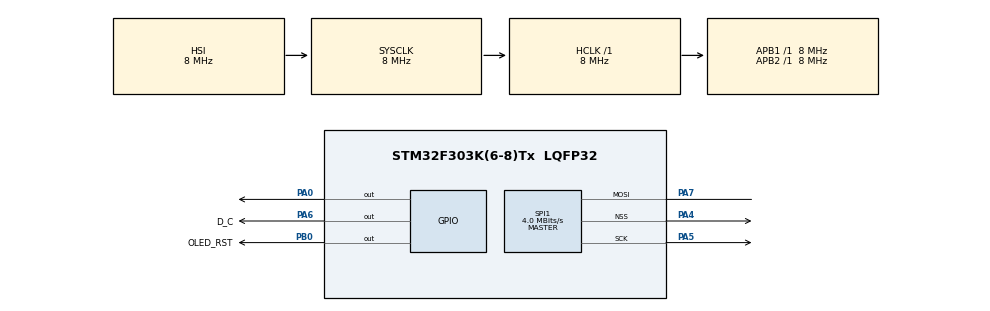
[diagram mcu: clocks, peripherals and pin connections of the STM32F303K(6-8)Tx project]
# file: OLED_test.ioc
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Mcu.Family=STM32F3
Mcu.Name=STM32F303K(6-8)Tx
Mcu.Package=LQFP32
NVIC.PriorityGroup=NVIC_PRIORITYGROUP_4
PA0.Signal=GPIO_Output
PA13.Mode=Serial_Wire
PA13.Signal=SYS_JTMS-SWDIO
PA14.Mode=Serial_Wire
PA14.Signal=SYS_JTCK-SWCLK
PA4.Mode=NSS_Signal_Hard_Output
PA4.Signal=SPI1_NSS
PA5.Mode=Simplex_Bidirectional_Master
PA5.Signal=SPI1_SCK
PA6.GPIO_Label=D_C
PA6.Signal=GPIO_Output
PA7.Mode=Simplex_Bidirectional_Master
PA7.Signal=SPI1_MOSI
PB0.GPIO_Label=OLED_RST
PB0.Signal=GPIO_Output
PF0\ /\ OSC_IN.Mode=HSE-External-Oscillator
PF0\ /\ OSC_IN.Signal=RCC_OSC_IN
PF1\ /\ OSC_OUT.Mode=HSE-External-Oscillator
PF1\ /\ OSC_OUT.Signal=RCC_OSC_OUT
ProjectManager.HeapSize=0x200
ProjectManager.StackSize=0x400
ProjectManager.TargetToolchain=STM32CubeIDE
RCC.AHBFreq_Value=8000000
RCC.APB1Freq_Value=8000000
RCC.APB2Freq_Value=8000000
RCC.CortexFreq_Value=8000000
RCC.HSE_VALUE=8000000
RCC.HSI_VALUE=8000000
RCC.SYSCLKFreq_VALUE=8000000
SPI1.BaudRatePrescaler=SPI_BAUDRATEPRESCALER_2
SPI1.CalculateBaudRate=4.0 MBits/s
SPI1.DataSize=SPI_DATASIZE_8BIT
SPI1.Direction=SPI_DIRECTION_1LINE
SPI1.Mode=SPI_MODE_MASTER
SPI1.VirtualNSS=VM_NSSHARD
SPI1.VirtualType=VM_MASTER
board=custom

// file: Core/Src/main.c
/* USER CODE BEGIN Header */
/**
  ******************************************************************************
  * @file           : main.c
  * @brief          : Main program body
  ******************************************************************************
  * @attention
  *
  * <h2><center>&copy; Copyright (c) 2019 STMicroelectronics.
  * All rights reserved.</center></h2>
  *
  * This software component is licensed by ST under BSD 3-Clause license,
  * the "License"; You may not use this file except in compliance with the
  * License. You may obtain a copy of the License at:
  *                        opensource.org/licenses/BSD-3-Clause
  *
  ******************************************************************************
  */
/* USER CODE END Header */

#include "main.h"
#include "spi.h"
#include "gpio.h"

/* USER CODE BEGIN Includes */
#include "oled.h"
/* USER CODE END Includes */

void SystemClock_Config(void);

int main(void)
{

  /* MCU Configuration--------------------------------------------------------*/

  /* Reset of all peripherals, Initializes the Flash interface and the Systick. */
  HAL_Init();

  /* Configure the system clock */
  SystemClock_Config();

  /* Initialize all configured peripherals */
  MX_GPIO_Init();
  MX_SPI1_Init();
  /* USER CODE BEGIN 2 */

  OLEDInit();

  OLEDFillc(0xff,0xff,0xff);
  OLEDLogo();
  while(1){}
//  OLEDLine(0,0,95,63, 0b0000000,0b0000000,0b0001111);
//  OLEDLine(95, 32, 0, 63, 0b00001111, 0b0000, 0b0000);

  /* USER CODE END 2 */

  /* Infinite loop */
  while (1)
  {

    /* USER CODE BEGIN 3 */
	  OLEDSetColor(0x00, 0x00, 0x00);
	  for(int j=0;j<64;j++){
		  for(int i=0;i<96;i++){
			  OLEDPoint(i, j);
			  //HAL_Delay(1);
		  }
	  }
	  for(uint8_t co=1;co<64;co+=4){
		  OLEDSetColor(co, 0x00, 0x00);
		  for(int j=0;j<64;j++){
			  for(int i=0;i<96;i++){
				  OLEDPoint(i, j);
				  //HAL_Delay(1);
			  }
		  }
	  }
	  OLEDSetColor(0x00, 0xff, 0x00);
	  for(int j=0;j<64;j++){
		  for(int i=0;i<96;i++){
			  OLEDPoint(i, j);
			  //HAL_Delay(1);
		  }
	  }
	  OLEDSetColor(0x00, 0x00, 0xff);
	  for(int j=0;j<64;j++){
		  for(int i=0;i<96;i++){
			  OLEDPoint(i, j);
			  //HAL_Delay(1);
		  }
	  }

	  OLEDSetColor(0x00, 0x00, 0x00);
	  for(int i=0;i<96;i++){
		  for(int j=0;j<64;j++){
			  OLEDPoint(i, j);
			  //HAL_Delay(1);
		  }
	  }
	  OLEDSetColor(0xff, 0x00, 0x00);
	  for(int i=0;i<96;i++){
		  for(int j=0;j<64;j++){
			  OLEDPoint(i, j);
			  //HAL_Delay(1);
		  }
	  }
	  OLEDSetColor(0x00, 0xff, 0x00);
	  for(int i=0;i<96;i++){
		  for(int j=0;j<64;j++){
			  OLEDPoint(i, j);
			  //HAL_Delay(1);
		  }
	  }
	  OLEDSetColor(0x00, 0x00, 0xff);
	  for(int i=0;i<96;i++){
		  for(int j=0;j<64;j++){
			  OLEDPoint(i, j);
			  //HAL_Delay(1);
		  }
	  }
	  OLEDClear();

  }
  /* USER CODE END 3 */
}

void SystemClock_Config(void)
{
  RCC_OscInitTypeDef RCC_OscInitStruct = {0};
  RCC_ClkInitTypeDef RCC_ClkInitStruct = {0};

  /** Initializes the CPU, AHB and APB busses clocks
  */
  RCC_OscInitStruct.OscillatorType = RCC_OSCILLATORTYPE_HSI;
  RCC_OscInitStruct.HSIState = RCC_HSI_ON;
  RCC_OscInitStruct.HSICalibrationValue = RCC_HSICALIBRATION_DEFAULT;
  RCC_OscInitStruct.PLL.PLLState = RCC_PLL_NONE;
  if (HAL_RCC_OscConfig(&RCC_OscInitStruct) != HAL_OK)
  {
    Error_Handler();
  }
  /** Initializes the CPU, AHB and APB busses clocks
  */
  RCC_ClkInitStruct.ClockType = RCC_CLOCKTYPE_HCLK|RCC_CLOCKTYPE_SYSCLK
                              |RCC_CLOCKTYPE_PCLK1|RCC_CLOCKTYPE_PCLK2;
  RCC_ClkInitStruct.SYSCLKSource = RCC_SYSCLKSOURCE_HSI;
  RCC_ClkInitStruct.AHBCLKDivider = RCC_SYSCLK_DIV1;
  RCC_ClkInitStruct.APB1CLKDivider = RCC_HCLK_DIV1;
  RCC_ClkInitStruct.APB2CLKDivider = RCC_HCLK_DIV1;

  if (HAL_RCC_ClockConfig(&RCC_ClkInitStruct, FLASH_LATENCY_0) != HAL_OK)
  {
    Error_Handler();
  }
}

void Error_Handler(void)
{
}

/************************ (C) COPYRIGHT STMicroelectronics *****END OF FILE****/
